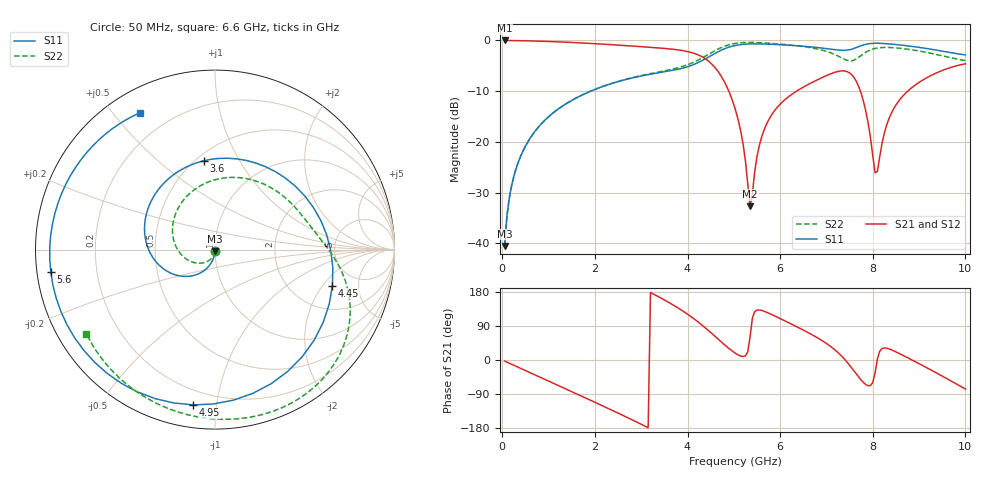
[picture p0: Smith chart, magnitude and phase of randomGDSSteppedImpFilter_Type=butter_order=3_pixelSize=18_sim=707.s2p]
! freq	dB(S11)	phase(S11)	dB(S12)	phase(S12)
!  dB(S21)	phase(S21)	dB(S22)	phase(S22)
!S-par simulation data
#  GHz  S  DB  R 50
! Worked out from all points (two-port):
!   200 points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, 50 MHz to 10 GHz, reference 50 ohm
!   highest |S21| = -0.01 dB at 50 MHz (marker M1); lowest = -32.7 dB at 5.35 GHz (marker M2)
!   |S21| within 3 dB of the highest: start of sweep to 4.267 GHz
!   lowest |S11| = -40.6 dB at 50 MHz (marker M3), VSWR 1.02, Z = 50 - j0.937 ohm
!   |S11| at or under -10 dB: start of sweep to 1.91 GHz
!   |S22| runs from -40.6 to -0.4 dB; largest |S21 - S12| = 0
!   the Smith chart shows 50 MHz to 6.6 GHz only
!   S11 on the Smith chart (normalised r, x): 50 MHz: 1.00, -0.02; 3.6 GHz: 0.55, +0.72; 4.45 GHz: 3.32, -2.51; 4.95 GHz: 0.12, -0.86; 5.6 GHz: 0.04, -0.07; 6.6 GHz: 0.09, +0.59
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0.05  -40.56 -90.9  -0.01 -2.8  -0.01 -2.8  -40.58 -92.8
0.2  -28.68 -97.3  -0.02 -11.2  -0.02 -11.2  -28.71 -105.1
0.5  -20.84 -108.7  -0.07 -27.9  -0.07 -27.9  -20.88 -128.0
1.75  -10.65 -155.9  -0.51 -97.5  -0.51 -97.5  -10.65 139.3
2.65  -7.75 163.4  -1.01 -148.8  -1.01 -148.8  -7.70 77.5
3.4  -6.35 114.9  -1.50 165.2  -1.50 165.2  -6.18 34.3
3.6  -6.04 97.3  -1.66 151.6  -1.66 151.6  -5.81 24.7
4.05  -5.04 45.2  -2.30 116.7  -2.30 116.7  -4.62 6.2
4.45  -3.30 -17.1  -4.06 78.0  -4.06 78.0  -2.75 -11.3
4.95  -1.17 -98.0  -11.36 25.1  -11.36 25.1  -0.73 -43.3
5.05  -0.97 -112.0  -14.18 16.5  -14.18 16.5  -0.56 -50.3
5.35  -0.69 -147.9  -32.75 60.5  -32.75 60.5  -0.38 -70.1
5.6  -0.69 -172.2  -19.06 130.8  -19.06 130.8  -0.46 -85.3
6.6  -1.22 118.7  -8.71 72.6  -8.71 72.6  -1.35 -146.9
6.7  -1.30 113.2  -8.24 66.0  -8.24 66.0  -1.50 -154.7
7.1  -1.73 93.1  -6.56 34.8  -6.56 34.8  -2.47 162.6
7.4  -1.95 82.0  -6.03 0.8  -6.03 0.8  -3.76 101.5
7.7  -1.20 71.3  -9.19 -45.8  -9.19 -45.8  -3.31 0.0
8.05  -0.56 50.6  -26.10 -33.9  -26.10 -33.9  -1.58 -86.9
8.35  -0.68 33.8  -15.42 29.3  -15.42 29.3  -1.39 -128.2
9.05  -1.44 0.5  -7.98 -12.9  -7.98 -12.9  -2.17 165.4
10  -2.87 -33.5  -4.61 -76.6  -4.61 -76.6  -3.97 67.8
